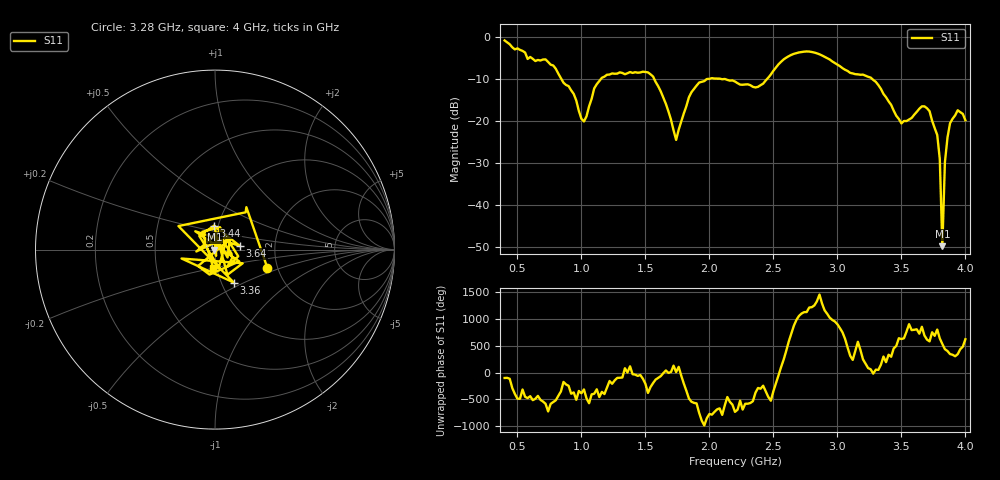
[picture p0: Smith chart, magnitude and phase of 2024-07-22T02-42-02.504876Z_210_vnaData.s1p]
!Created with skrf (http://scikit-rf.org).
# Hz S RI R 50.0
!freq ReS11 ImS11
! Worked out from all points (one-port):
!   181 points, 400 MHz to 4 GHz, reference 50 ohm
!   lowest |S11| = -49.8 dB at 3.82 GHz (marker M1), VSWR 1.01, Z = 49.7 + j0.0281 ohm
!   |S11| at or under -10 dB: 1.57 GHz to 1.978 GHz (408.4 MHz wide, 23 % of centre); 2.125 GHz to 2.449 GHz (324.1 MHz wide, 14.2 % of centre); 3.274 GHz to end of sweep (the widest 3 of 5)
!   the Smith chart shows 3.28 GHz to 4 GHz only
!   S11 on the Smith chart (normalised r, x): 3.28 GHz: 1.77, -0.40; 3.36 GHz: 1.14, -0.44; 3.44 GHz: 0.95, +0.26; 3.64 GHz: 1.32, +0.05; 4 GHz: 0.96, -0.20
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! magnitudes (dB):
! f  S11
! 400 MHz  -0.8
! 720 MHz  -5.3
! 860 MHz  -10.8
! 1.02 GHz  -20.1
! 1.12 GHz  -11.2
! 1.3 GHz  -8.4
! 1.56 GHz  -9.4
! 1.74 GHz  -24.5
! 1.76 GHz  -22.0
! 1.84 GHz  -14.3
! 1.92 GHz  -10.8
! 2.2 GHz  -10.6
! 2.38 GHz  -11.8
! 2.66 GHz  -4.0
! 3.1 GHz  -8.5
! 3.28 GHz  -10.2
! 3.36 GHz  -13.5
! 3.44 GHz  -17.5
! 3.56 GHz  -19.6
! 3.64 GHz  -17.0
! 3.72 GHz  -17.6
! 3.78 GHz  -23.3
! 3.8 GHz  -29.0
! 3.82 GHz  -49.8
! 3.84 GHz  -29.8
! 3.88 GHz  -20.5
! 3.94 GHz  -17.4
! 4 GHz  -19.8
